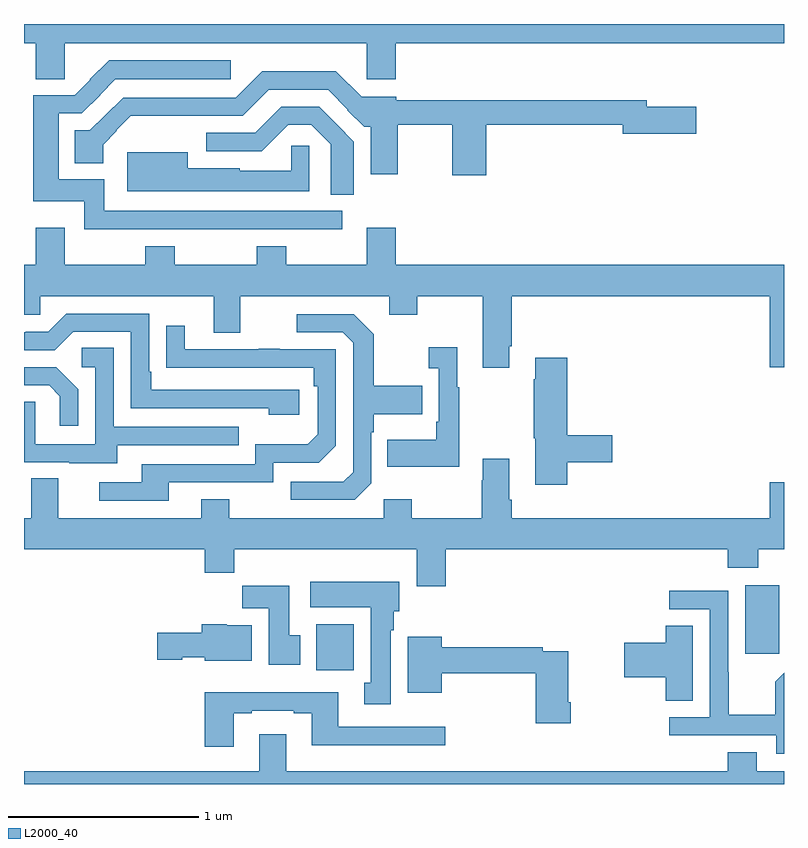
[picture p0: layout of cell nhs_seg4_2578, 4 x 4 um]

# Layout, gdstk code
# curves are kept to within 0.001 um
import gdstk
lib = gdstk.Library(unit=1e-6, precision=1e-09)
def R(c, l, rs):  # rectangles x0, y0, x1, y1
    for r in rs: c.add(gdstk.rectangle(r[:2], r[2:], *l))
def P(c, l, *ps):  # polygons
    for p in ps: c.add(gdstk.Polygon(p, *l))
L2000_40 = (2000, 40)

nhs_seg4_2578 = lib.new_cell('nhs_seg4_2578')
R(nhs_seg4_2578, L2000_40, [(246.539,813.5,246.736,813.742), (248.795,813.585,248.974,813.946)])
P(nhs_seg4_2578, L2000_40, [(246.956,816.8),(249,816.8),(249,816.9),(245,816.9),(245,816.8),(245.063,816.8),(245.063,816.61),(245.214,816.61),(245.214,816.8),(246.805,816.8),(246.805,816.609),(246.956,816.609)],
  [(245.549,815.82),(246.676,815.82),(246.676,815.916),(245.422,815.916),(245.422,816.082),(245.182,816.082),(245.182,816.429),(245.305,816.429),(245.402,816.526),(245.4,816.528),(245.481,816.609),(246.088,816.609),(246.088,816.709),(245.448,816.709),(245.347,816.608),(245.349,816.606),(245.268,816.525),(245.048,816.525),(245.048,815.966),(245.318,815.966),(245.318,815.819)],
  [(247.433,816.37),(248.15,816.37),(248.15,816.323),(248.539,816.323),(248.539,816.465),(248.278,816.465),(248.278,816.499),(246.958,816.499),(246.958,816.516),(246.777,816.516),(246.641,816.652),(246.253,816.652),(246.114,816.513),(245.522,816.513),(245.347,816.34),(245.267,816.34),(245.267,816.168),(245.416,816.168),(245.416,816.265),(245.489,816.338),(245.486,816.341),(245.561,816.416),(246.15,816.417),(246.288,816.555),(246.6,816.555),(246.705,816.45),(246.702,816.447),(246.79,816.36),(246.824,816.36),(246.824,816.108),(246.966,816.108),(246.966,816.37),(247.255,816.37),(247.255,816.105),(247.433,816.105)],
  [(246.736,816.281),(246.553,816.465),(246.354,816.465),(246.216,816.327),(245.958,816.327),(245.958,816.231),(246.252,816.231),(246.39,816.369),(246.513,816.369),(246.615,816.268),(246.615,816.001),(246.736,816.001)],
  [(246.5,816.259),(246.406,816.259),(246.406,816.127),(246.135,816.127),(246.135,816.142),(245.863,816.142),(245.863,816.226),(245.544,816.226),(245.544,816.02),(246.5,816.02)],
  [(247.555,815.203),(247.568,815.203),(247.568,815.468),(248.924,815.468),(248.924,815.094),(249,815.094),(249,815.632),(246.956,815.632),(246.956,815.827),(246.803,815.827),(246.803,815.632),(246.381,815.632),(246.381,815.731),(246.226,815.731),(246.226,815.632),(245.793,815.632),(245.793,815.731),(245.638,815.731),(245.638,815.632),(245.215,815.632),(245.215,815.827),(245.063,815.827),(245.063,815.632),(245,815.632),(245,815.37),(245.085,815.37),(245.085,815.468),(245.999,815.468),(245.999,815.274),(246.139,815.274),(246.139,815.468),(246.923,815.468),(246.923,815.369),(247.071,815.369),(247.071,815.468),(247.415,815.468),(247.415,815.091),(247.555,815.091)],
  [(246.448,814.974),(245.671,814.974),(245.671,815.071),(245.658,815.071),(245.658,815.376),(245.223,815.376),(245.127,815.28),(245.009,815.28),(245.009,815.277),(245,815.277),(245,815.184),(245.163,815.184),(245.259,815.28),(245.562,815.28),(245.562,814.878),(246.287,814.878),(246.287,814.844),(246.448,814.844)],
  [(246.828,814.482),(246.828,814.751),(246.841,814.751),(246.841,814.847),(247.097,814.847),(247.097,814.995),(246.841,814.995),(246.841,815.267),(246.735,815.373),(246.435,815.373),(246.435,815.277),(246.678,815.277),(246.732,815.223),(246.732,814.542),(246.681,814.491),(246.405,814.491),(246.405,814.395),(246.741,814.395)],
  [(245.761,814.488),(246.312,814.488),(246.312,814.59),(246.552,814.59),(246.642,814.68),(246.642,815.187),(246.347,815.187),(246.347,815.192),(246.235,815.192),(246.235,815.187),(245.845,815.187),(245.845,815.311),(245.749,815.311),(245.749,815.092),(246.526,815.091),(246.526,814.994),(246.546,814.994),(246.546,814.74),(246.493,814.687),(246.216,814.687),(246.216,814.584),(245.621,814.584),(245.621,814.488),(245.397,814.488),(245.397,814.392),(245.761,814.392)],
  [(247.291,814.987),(247.279,814.987),(247.279,815.2),(247.131,815.2),(247.131,815.087),(247.182,815.087),(247.182,814.807),(247.17,814.807),(247.17,814.711),(246.913,814.711),(246.913,814.571),(247.291,814.571)],
  [(245.491,814.683),(246.131,814.683),(246.131,814.779),(245.472,814.779),(245.472,815.195),(245.304,815.195),(245.304,815.094),(245.376,815.094),(245.376,814.689),(245.058,814.689),(245.058,814.913),(245,814.913),(245,814.593),(245.237,814.593),(245.237,814.589),(245.491,814.589)],
  [(247.859,814.594),(248.095,814.594),(248.095,814.736),(247.859,814.736),(247.859,815.143),(247.691,815.143),(247.691,815.03),(247.684,815.03),(247.684,814.719),(247.691,814.719),(247.691,814.476),(247.859,814.476)],
  [(245.286,814.978),(245.17,815.094),(245,815.094),(245,814.998),(245.132,814.998),(245.189,814.941),(245.189,814.785),(245.286,814.785)],
  [(245.933,814.399),(245.933,814.3),(245.179,814.3),(245.179,814.508),(245.039,814.508),(245.039,814.3),(245,814.3),(245,814.136),(245.951,814.136),(245.951,814.012),(246.107,814.012),(246.107,814.136),(247.067,814.136),(247.067,813.942),(247.22,813.942),(247.22,814.136),(248.705,814.136),(248.705,814.037),(248.865,814.037),(248.865,814.136),(249,814.136),(249,814.489),(248.924,814.489),(248.924,814.3),(247.568,814.3),(247.568,814.396),(247.555,814.396),(247.555,814.612),(247.415,814.612),(247.415,814.499),(247.408,814.499),(247.408,814.3),(247.041,814.3),(247.041,814.399),(246.894,814.399),(246.894,814.3),(246.081,814.3),(246.081,814.399)],
  [(246.931,813.71),(246.946,813.71),(246.946,813.81),(246.976,813.81),(246.976,813.964),(246.507,813.964),(246.507,813.83),(246.824,813.83),(246.824,813.434),(246.791,813.434),(246.791,813.321),(246.931,813.321)],
  [(246.454,813.684),(246.397,813.684),(246.397,813.943),(246.148,813.943),(246.148,813.824),(246.287,813.824),(246.287,813.528),(246.454,813.528)],
  [(249,813.486),(248.953,813.439),(248.953,813.265),(248.709,813.265),(248.709,813.488),(248.706,813.488),(248.706,813.918),(248.397,813.918),(248.397,813.819),(248.61,813.819),(248.61,813.252),(248.397,813.252),(248.397,813.156),(248.958,813.156),(248.958,813.059),(249,813.059)],
  [(246.199,813.736),(246.066,813.736),(246.066,813.742),(245.936,813.742),(245.936,813.696),(245.7,813.696),(245.7,813.554),(245.832,813.554),(245.832,813.566),(245.952,813.566),(245.952,813.548),(246.199,813.548)],
  [(248.521,813.734),(248.378,813.734),(248.378,813.644),(248.16,813.644),(248.16,813.461),(248.378,813.461),(248.378,813.337),(248.521,813.337)],
  [(247.877,813.331),(247.864,813.331),(247.864,813.6),(247.73,813.6),(247.73,813.62),(247.198,813.62),(247.198,813.676),(247.019,813.676),(247.019,813.38),(247.198,813.38),(247.198,813.484),(247.694,813.484),(247.694,813.219),(247.877,813.219)],
  [(246.103,813.273),(246.199,813.273),(246.199,813.285),(246.419,813.285),(246.419,813.273),(246.515,813.273),(246.515,813.104),(247.216,813.104),(247.216,813.201),(246.655,813.201),(246.655,813.382),(245.951,813.382),(245.951,813.096),(246.103,813.096)],
  [(249,812.968),(248.857,812.968),(248.857,813.067),(248.705,813.067),(248.705,812.968),(246.379,812.968),(246.379,813.163),(246.239,813.163),(246.239,812.968),(245,812.968),(245,812.9),(249,812.9)])

lib.write_gds('nhs_seg4_2578.gds')
